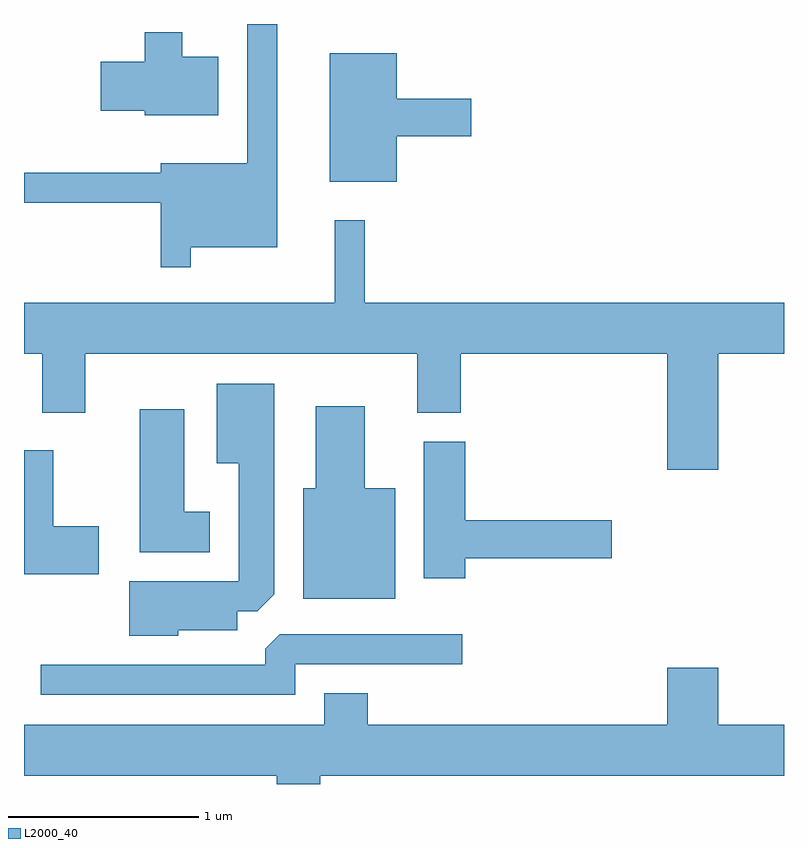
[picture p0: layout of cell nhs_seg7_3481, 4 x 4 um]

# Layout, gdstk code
import gdstk
lib = gdstk.Library(unit=1e-6, precision=1e-09)
def P(c, l, *ps):  # polygons
    for p in ps: c.add(gdstk.Polygon(p, *l))
L2000_40 = (2000, 40)

nhs_seg7_3481 = lib.new_cell('nhs_seg7_3481')
P(nhs_seg7_3481, L2000_40, [(292.489,1737.076),(292.944,1737.076),(292.944,1738.252),(292.786,1738.252),(292.786,1737.519),(292.331,1737.519),(292.331,1737.469),(291.611,1737.469),(291.611,1737.311),(292.331,1737.311),(292.331,1736.973),(292.489,1736.973)],
  [(292.634,1738.079),(292.444,1738.079),(292.444,1738.209),(292.246,1738.209),(292.246,1738.054),(292.016,1738.054),(292.016,1737.796),(292.246,1737.796),(292.246,1737.771),(292.634,1737.771)],
  [(293.574,1737.661),(293.964,1737.661),(293.964,1737.859),(293.574,1737.859),(293.574,1738.099),(293.221,1738.099),(293.221,1737.421),(293.574,1737.421)],
  [(295.264,1736.516),(295.611,1736.516),(295.611,1736.784),(293.404,1736.784),(293.404,1737.218),(293.246,1737.218),(293.246,1736.784),(291.611,1736.784),(291.611,1736.516),(291.706,1736.516),(291.706,1736.206),(291.934,1736.206),(291.934,1736.516),(293.681,1736.516),(293.681,1736.206),(293.909,1736.206),(293.909,1736.516),(294.996,1736.516),(294.996,1735.906),(295.264,1735.906)],
  [(292.424,1735.061),(292.734,1735.061),(292.734,1735.161),(292.839,1735.161),(292.929,1735.252),(292.929,1736.359),(292.626,1736.359),(292.626,1735.941),(292.741,1735.941),(292.741,1735.319),(292.166,1735.319),(292.166,1735.031),(292.424,1735.031)],
  [(293.564,1735.809),(293.404,1735.809),(293.404,1736.239),(293.146,1736.239),(293.146,1735.809),(293.081,1735.809),(293.081,1735.226),(293.564,1735.226)],
  [(292.589,1735.684),(292.454,1735.684),(292.454,1736.224),(292.221,1736.224),(292.221,1735.471),(292.589,1735.471)],
  [(293.934,1735.441),(294.704,1735.441),(294.704,1735.639),(293.934,1735.639),(293.934,1736.054),(293.716,1736.054),(293.716,1735.336),(293.934,1735.336)],
  [(292.004,1735.609),(291.764,1735.609),(291.764,1736.009),(291.611,1736.009),(291.611,1735.356),(292.004,1735.356)],
  [(293.039,1734.881),(293.918,1734.881),(293.918,1735.039),(292.957,1735.039),(292.881,1734.964),(292.881,1734.879),(291.698,1734.879),(291.698,1734.721),(293.039,1734.721)],
  [(293.169,1734.296),(295.611,1734.296),(295.611,1734.564),(295.264,1734.564),(295.264,1734.864),(294.996,1734.864),(294.996,1734.564),(293.419,1734.564),(293.419,1734.729),(293.191,1734.729),(293.191,1734.564),(291.611,1734.564),(291.611,1734.296),(292.941,1734.296),(292.941,1734.252),(293.169,1734.252)])

lib.write_gds('nhs_seg7_3481.gds')
